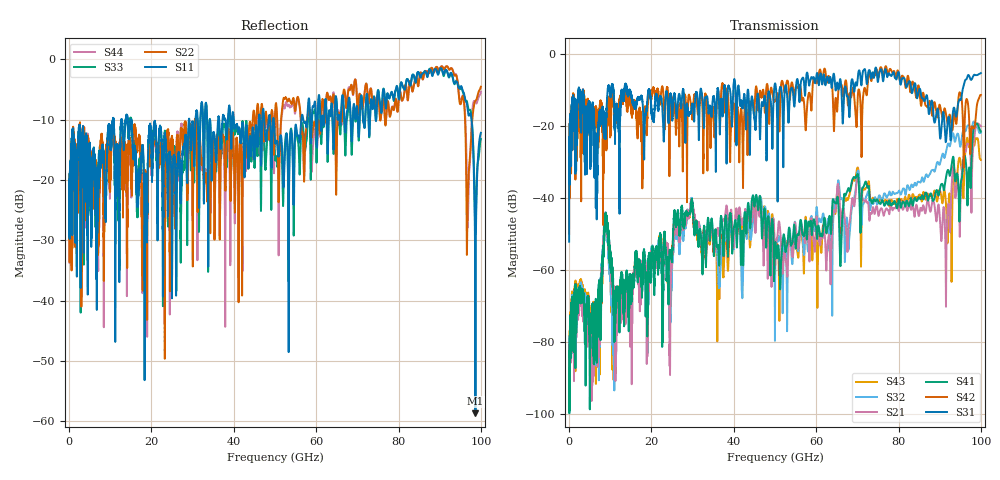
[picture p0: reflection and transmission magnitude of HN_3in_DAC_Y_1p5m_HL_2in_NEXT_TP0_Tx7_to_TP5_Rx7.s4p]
# GHz S RI R 45
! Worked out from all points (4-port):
!   4000 points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, 25 MHz to 100 GHz, reference 45 ohm
!   strongest paths, dB at 25 MHz, 25.02 GHz, 50.02 GHz, 75.03 GHz, 100 GHz:
!     S31: -52.3, -17.7, -8.3, -7.8, -5.4
!     S42: -50.1, -13.8, -13.1, -6.4, -11.5
!     S41: -87.4, -57.8, -52.9, -40.9, -21.7
!     S21: -95.0, -56.6, -58.2, -44.5, -20.2
!     S32: -98.6, -59.9, -67.8, -40.7, -21.9
!     S43: -97.3, -57.2, -53.5, -40.7, -29.6
!   lowest |S11| = -58.7 dB at 98.67 GHz (marker M1), VSWR 1.00, Z = 44.9 - j0.0587 ohm
!   |S11| at or under -10 dB: start of sweep to 10.66 GHz; 14.21 GHz to 29.11 GHz (14.89 GHz wide, 68.8 % of centre); 49.71 GHz to 56.41 GHz (6.696 GHz wide, 12.6 % of centre) (the widest 3 of 40)
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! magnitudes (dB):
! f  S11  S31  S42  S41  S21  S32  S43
! 25 MHz  -25.3  -52.3  -50.1  -87.4  -95.0  -98.6  -97.3
! 8.975 GHz  -25.5  -19.8  -19.7  -44.6  -44.7  -44.7  -44.8
! 11 GHz  -13.1  -16.2  -15.2  -71.4  -67.9  -93.6  -86.4
! 29.6 GHz  -14.9  -16.3  -14.0  -42.8  -41.1  -40.9  -41.8
! 91.5 GHz  -1.7  -24.6  -16.6  -34.6  -66.5  -27.4  -41.4
! 98.67 GHz  -58.7  -6.0  -18.7  -19.8  -20.9  -19.8  -23.7
! 100 GHz  -12.2  -5.4  -11.5  -21.7  -20.2  -21.9  -29.6
